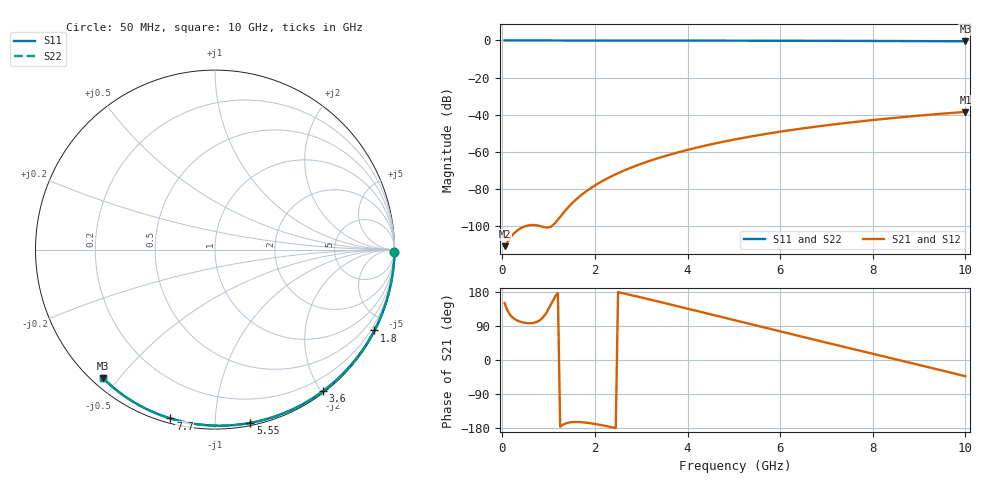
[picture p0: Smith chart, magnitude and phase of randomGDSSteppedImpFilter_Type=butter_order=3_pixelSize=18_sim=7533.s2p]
! freq	dB(S11)	phase(S11)	dB(S12)	phase(S12)
!  dB(S21)	phase(S21)	dB(S22)	phase(S22)
!S-par simulation data
#  GHz  S  DB  R 50
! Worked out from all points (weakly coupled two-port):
!   200 points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, 50 MHz to 10 GHz, reference 50 ohm
!   highest |S21| = -38.49 dB at 10 GHz (marker M1); lowest = -110.8 dB at 50 MHz (marker M2)
!   lowest |S11| = -0.4 dB at 10 GHz (marker M3), VSWR 38.79, Z = 1.55 - j22.7 ohm
!   |S11| at or under -10 dB: nowhere
!   |S22| runs from -0.4 to 0.0 dB; largest |S21 - S12| = 0
!   S11 on the Smith chart (normalised r, x): 50 MHz: open; 1.8 GHz: 0.04, -4.19; 3.6 GHz: 0.02, -2.03; 5.55 GHz: 0.02, -1.22; 7.7 GHz: 0.02, -0.77; 10 GHz: 0.03, -0.45
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0.05  -0.00 -0.8  -110.76 150.5  -110.76 150.5  -0.00 -0.8
0.9  -0.02 -13.6  -100.48 115.9  -100.48 115.9  -0.02 -13.6
1.75  -0.03 -26.1  -82.37 -164.5  -82.37 -164.5  -0.03 -26.1
1.8  -0.03 -26.9  -81.43 -165.2  -81.43 -165.2  -0.03 -26.9
1.85  -0.04 -27.6  -80.54 -166.0  -80.54 -166.0  -0.04 -27.6
1.9  -0.04 -28.3  -79.69 -166.8  -79.69 -166.8  -0.04 -28.3
2.05  -0.04 -30.5  -77.31 -169.8  -77.31 -169.8  -0.04 -30.5
2.25  -0.04 -33.4  -74.51 -174.5  -74.51 -174.5  -0.04 -33.4
2.45  -0.05 -36.3  -72.04 -179.6  -72.04 -179.6  -0.05 -36.3
2.65  -0.05 -39.2  -69.82 174.9  -69.82 174.9  -0.05 -39.2
3  -0.06 -44.2  -66.42 165.0  -66.42 165.0  -0.06 -44.2
3.4  -0.07 -49.8  -63.09 153.4  -63.09 153.4  -0.07 -49.8
3.6  -0.07 -52.5  -61.61 147.4  -61.61 147.4  -0.07 -52.5
4.3  -0.09 -62.1  -57.10 126.5  -57.10 126.5  -0.09 -62.1
5.05  -0.11 -72.0  -53.16 104.0  -53.16 104.0  -0.11 -72.0
5.55  -0.13 -78.5  -50.93 89.0  -50.93 89.0  -0.13 -78.5
6.1  -0.15 -85.4  -48.75 72.5  -48.75 72.5  -0.15 -85.4
6.7  -0.18 -92.8  -46.65 54.6  -46.65 54.6  -0.18 -92.8
7.7  -0.24 -104.8  -43.65 25.2  -43.65 25.2  -0.24 -104.8
8.35  -0.29 -112.4  -41.97 6.1  -41.97 6.1  -0.29 -112.4
9.15  -0.36 -121.5  -40.14 -17.4  -40.14 -17.4  -0.36 -121.5
10  -0.45 -131.1  -38.49 -42.9  -38.49 -42.9  -0.45 -131.1
